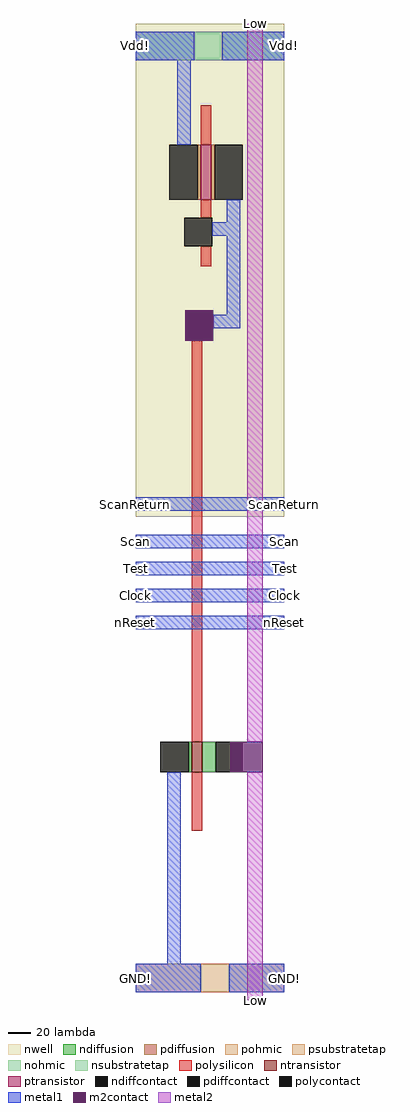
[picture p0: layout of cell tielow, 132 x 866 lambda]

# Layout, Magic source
magic
tech tsmc180
<< nwell >>
rect 0 429 132 866
<< polysilicon >>
rect 58 759 67 794
rect 58 694 67 710
rect 58 651 67 669
rect 50 229 59 585
rect 50 150 59 202
<< ndiffusion >>
rect 47 202 50 229
rect 59 202 71 229
<< pdiffusion >>
rect 55 710 58 759
rect 67 710 70 759
<< pohmic >>
rect 0 7 58 32
rect 83 7 132 32
<< nohmic >>
rect 0 834 52 859
rect 77 834 132 859
<< ntransistor >>
rect 50 202 59 229
<< ptransistor >>
rect 58 710 67 759
<< polycontact >>
rect 43 669 68 694
rect 44 585 69 612
<< ndiffcontact >>
rect 22 202 47 229
rect 71 202 95 229
<< pdiffcontact >>
rect 30 710 55 759
rect 70 710 95 759
<< psubstratetap >>
rect 58 7 83 32
<< nsubstratetap >>
rect 52 834 77 859
<< metal1 >>
rect 0 834 52 859
rect 77 834 132 859
rect 37 759 49 834
rect 81 690 93 710
rect 68 678 93 690
rect 81 608 93 678
rect 69 596 93 608
rect 0 434 132 446
rect 0 401 132 413
rect 0 377 132 389
rect 0 353 132 365
rect 0 329 132 341
rect 28 32 40 202
rect 0 7 58 32
rect 83 7 132 32
<< m2contact >>
rect 44 585 69 612
rect 84 202 95 229
rect 95 202 113 229
<< metal2 >>
rect 99 229 113 866
rect 99 0 113 202
<< labels >>
rlabel metal1 0 7 0 32 3 GND!
rlabel metal1 132 7 132 32 7 GND!
rlabel metal1 0 434 0 446 3 ScanReturn
rlabel metal1 0 401 0 413 3 Scan
rlabel metal1 132 401 132 413 7 Scan
rlabel metal1 0 377 0 389 3 Test
rlabel metal1 132 377 132 389 7 Test
rlabel metal1 0 353 0 365 3 Clock
rlabel metal1 132 353 132 365 7 Clock
rlabel metal1 0 329 0 341 3 nReset
rlabel metal1 132 329 132 341 7 nReset
rlabel metal1 0 834 0 859 3 Vdd!
rlabel metal1 132 434 132 446 7 ScanReturn
rlabel metal1 132 834 132 859 7 Vdd!
rlabel metal2 99 0 113 0 1 Low
rlabel metal2 99 866 113 866 5 Low
<< end >>
